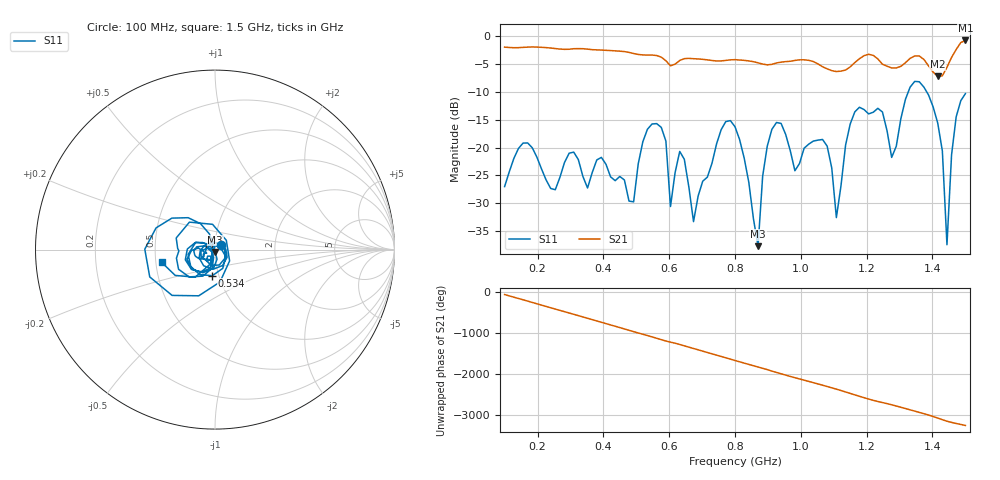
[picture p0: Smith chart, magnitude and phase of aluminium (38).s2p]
! NanoVNA-App
! Date: 2025-09-26 09:58:21
! Start: 100MHz Stop: 1,5GHz Points: 101
! S-Parameter data: F S11 S21 S12 S22
# Hz S RI R 50
!  Frequency  S11_Real  S11_Imag  S21_Real  S21_Imag  S12_Real  S12_Imag  S22_Real  S22_Imag
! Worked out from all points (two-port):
!   101 points, 100 MHz to 1.5 GHz, reference 50 ohm
!   highest |S21| = -0.72 dB at 1.5 GHz (marker M1); lowest = -7.2 dB at 1.416 GHz (marker M2)
!   |S21| within 3 dB of the highest: start of sweep to 575.9 MHz; 1.185 GHz to 1.227 GHz (41.49 MHz wide, 3.44 % of centre) (the widest 2 of 4)
!   lowest |S11| = -37.7 dB at 870 MHz (marker M3), VSWR 1.03, Z = 50.2 - j1.29 ohm
!   |S11| at or under -10 dB: start of sweep to 1.326 GHz; 1.383 GHz to end of sweep
!   S12 and S22 are empty: the file has one direction only
!   S11 on the Smith chart (normalised r, x): 100 MHz: 1.07, +0.06; 534 MHz: 0.93, -0.28; 1.5 GHz: 0.54, -0.08
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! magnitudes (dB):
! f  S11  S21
! 100 MHz  -27.0  -1.9
! 156 MHz  -19.2  -2.0
! 338 MHz  -25.2  -2.2
! 492 MHz  -29.8  -3.1
! 534 MHz  -16.7  -3.3
! 576 MHz  -16.4  -3.7
! 604 MHz  -30.6  -5.3
! 632 MHz  -20.7  -4.3
! 674 MHz  -33.3  -4.0
! 800 MHz  -16.2  -4.2
! 870 MHz  -37.7  -4.7
! 912 MHz  -16.7  -5.0
! 1.038 GHz  -18.8  -4.5
! 1.08 GHz  -19.7  -5.8
! 1.108 GHz  -32.6  -6.3
! 1.164 GHz  -13.6  -4.7
! 1.276 GHz  -21.8  -5.7
! 1.346 GHz  -8.1  -3.5
! 1.416 GHz  -15.6  -7.2
! 1.444 GHz  -37.5  -5.5
! 1.472 GHz  -14.5  -2.3
! 1.5 GHz  -10.3  -0.7
